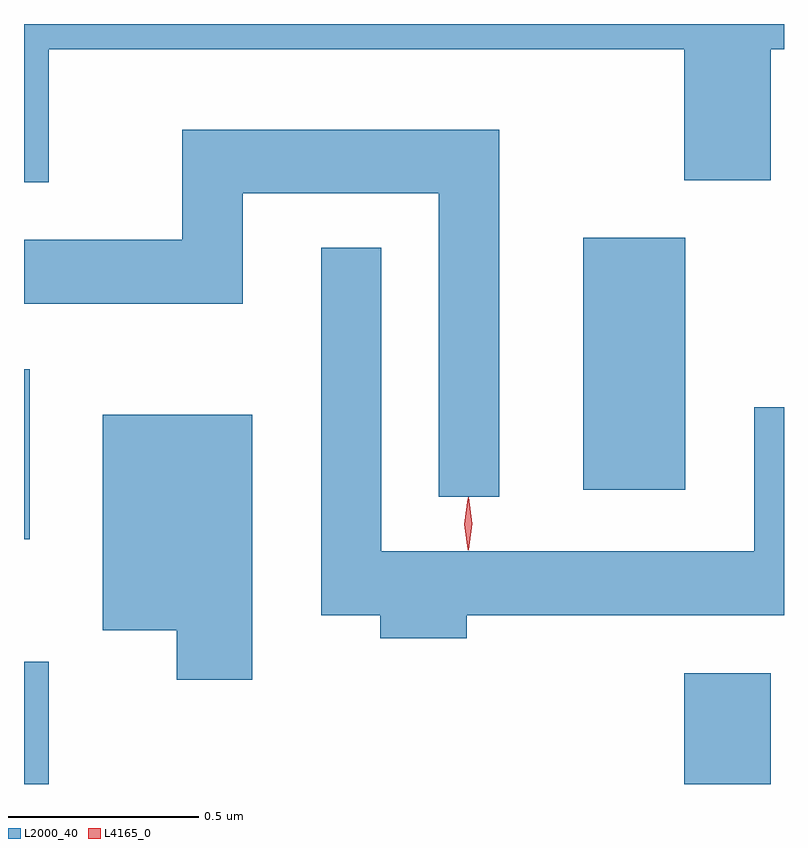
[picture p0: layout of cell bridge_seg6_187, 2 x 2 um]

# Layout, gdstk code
import gdstk
lib = gdstk.Library(unit=1e-6, precision=1e-09)
def R(c, l, rs):  # rectangles x0, y0, x1, y1
    for r in rs: c.add(gdstk.rectangle(r[:2], r[2:], *l))
def P(c, l, *ps):  # polygons
    for p in ps: c.add(gdstk.Polygon(p, *l))
L2000_40 = (2000, 40)
L4165_0 = (4165, 0)

bridge_seg6_187 = lib.new_cell('bridge_seg6_187')
R(bridge_seg6_187, L2000_40, [(1049.614,1574.742,1049.679,1575.064), (1051.351,1574.742,1051.579,1575.034), (1049.614,1575.386,1049.629,1575.834), (1051.086,1575.516,1051.354,1576.179)])
P(bridge_seg6_187, L2000_40, [(1049.679,1576.676),(1051.351,1576.676),(1051.351,1576.331),(1051.579,1576.331),(1051.579,1576.676),(1051.614,1576.676),(1051.614,1576.742),(1049.614,1576.742),(1049.614,1576.326),(1049.679,1576.326)],
  [(1050.864,1576.464),(1050.031,1576.464),(1050.031,1576.174),(1049.614,1576.174),(1049.614,1576.006),(1050.189,1576.006),(1050.189,1576.296),(1050.706,1576.296),(1050.706,1575.498),(1050.864,1575.498)],
  [(1050.779,1575.186),(1051.614,1575.186),(1051.614,1575.733),(1051.536,1575.733),(1051.536,1575.354),(1050.554,1575.354),(1050.554,1576.153),(1050.396,1576.153),(1050.396,1575.186),(1050.551,1575.186),(1050.551,1575.126),(1050.779,1575.126)],
  [(1050.214,1575.714),(1049.821,1575.714),(1049.821,1575.146),(1050.016,1575.146),(1050.016,1575.016),(1050.214,1575.016)])
P(bridge_seg6_187, L4165_0, [(1050.782,1575.359),(1050.782,1575.36),(1050.772,1575.426),(1050.782,1575.493),(1050.782,1575.493),(1050.783,1575.493),(1050.792,1575.426),(1050.783,1575.36)],
  [(1050.784,1575.357),(1050.783,1575.358),(1050.774,1575.427),(1050.783,1575.496),(1050.784,1575.496),(1050.784,1575.496),(1050.793,1575.427),(1050.784,1575.358)])

lib.write_gds('bridge_seg6_187.gds')
